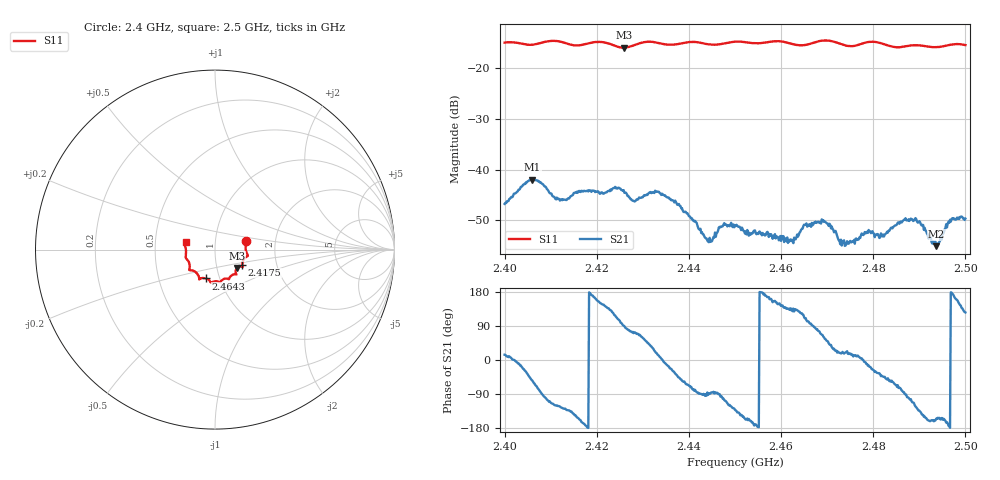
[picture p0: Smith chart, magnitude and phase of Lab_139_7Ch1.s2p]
# Hz S RI R 50
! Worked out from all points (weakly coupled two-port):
!   601 points, 2.4 GHz to 2.5 GHz, reference 50 ohm
!   highest |S21| = -41.92 dB at 2.406 GHz (marker M1); lowest = -55.1 dB at 2.4937 GHz (marker M2)
!   lowest |S11| = -15.9 dB at 2.4258 GHz (marker M3), VSWR 1.38, Z = 62.3 - j13.2 ohm
!   |S11| at or under -10 dB: start of sweep to end of sweep
!   S12 and S22 are empty: the file has one direction only
!   S11 on the Smith chart (normalised r, x): 2.4 GHz: 1.41, +0.14; 2.4175 GHz: 1.34, -0.23; 2.4643 GHz: 0.86, -0.29; 2.5 GHz: 0.72, +0.06
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2.4e9  0.1728 0.0487  0.00447 0.00111  0 0  0 0
2.406e9  0.1708 0.00201  0.00472 -0.00648  0 0  0 0
2.4115e9  0.1818 -0.0364  -0.00268 -0.00439  0 0  0 0
2.416667e9  0.1528 -0.0741  -0.00595 -0.00178  0 0  0 0
2.4175e9  0.1518 -0.0836  -0.00608 -0.000859  0 0  0 0
2.425833e9  0.1218 -0.1031  -7.05e-05 0.0063  0 0  0 0
2.428e9  0.1146 -0.1232  0.00162 0.00468  0 0  0 0
2.433333e9  0.1132 -0.1372  0.00591 0.00137  0 0  0 0
2.4375e9  0.0845 -0.1511  0.00336 -0.00301  0 0  0 0
2.4445e9  0.0598 -0.1611  7.1e-05 -0.00213  0 0  0 0
2.447167e9  0.0395 -0.1695  -0.000362 -0.00273  0 0  0 0
2.45e9  0.0289 -0.181  -0.00189 -0.00212  0 0  0 0
2.462e9  -0.03 -0.1731  -0.00149 0.00142  0 0  0 0
2.464333e9  -0.0498 -0.1609  -0.00139 0.00213  0 0  0 0
2.466667e9  -0.0759 -0.1593  -8.99e-05 0.00299  0 0  0 0
2.469333e9  -0.0883 -0.166  0.00156 0.00263  0 0  0 0
2.474333e9  -0.1002 -0.1329  0.00182 0.000778  0 0  0 0
2.483333e9  -0.141 -0.09  0.00154 -0.00197  0 0  0 0
2.488833e9  -0.1624 -0.0458  -0.00127 -0.00294  0 0  0 0
2.493667e9  -0.1615 -0.00616  -0.0016 -0.000751  0 0  0 0
2.496667e9  -0.1686 0.0248  -0.00321 -6.08e-05  0 0  0 0
2.5e9  -0.1639 0.043  -0.00192 0.00269  0 0  0 0
